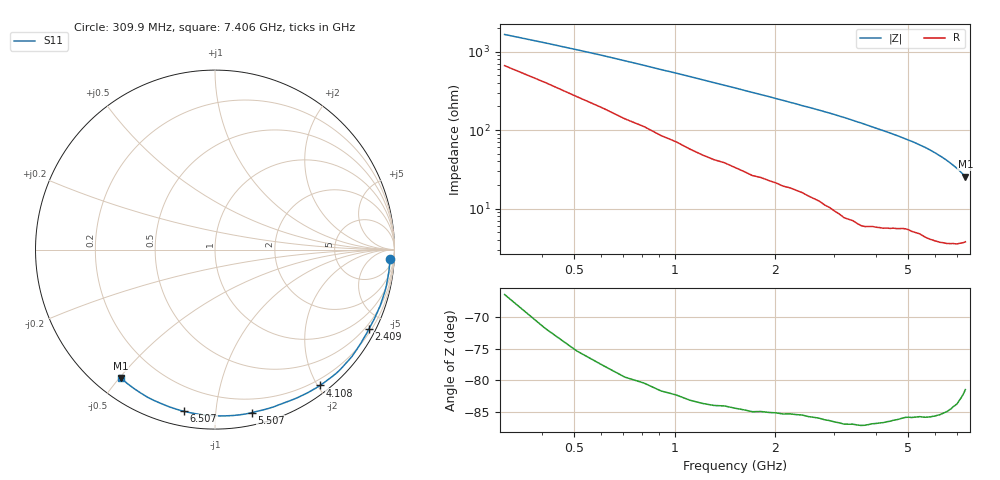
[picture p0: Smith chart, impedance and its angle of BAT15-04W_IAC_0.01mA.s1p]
! Infineon Technologies  Discrete & RF Semiconductors
! BAT15-04W-E6327
! IAC = 0.01 mA
! One-Port S-Parameters
# Hz  S  MA  R  50
!f  S11
!Hz  Mag  Ang
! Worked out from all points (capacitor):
!   72 points, 309.9 MHz to 7.406 GHz, reference 50 ohm
!   read as one part to ground: C = 317 fF near 309.9 MHz
!   lowest |Z| = 25.5 ohm at 7.406 GHz (marker M1)
!   S11 on the Smith chart (normalised r, x): 309.9 MHz: 13, -30; 2.409 GHz: 0.32, -4.07; 4.108 GHz: 0.11, -2.03; 5.507 GHz: 0.09, -1.25; 6.507 GHz: 0.07, -0.82; 7.406 GHz: 0.08, -0.50
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3.0985e8  0.976 -3.2
7.0965e8  0.9765 -7.4
1.2094e9  0.9754 -13.0
1.70915e9  0.9722 -18.8
2.10895e9  0.968 -23.6
2.4088e9  0.9646 -27.4
2.70865e9  0.9647 -31.1
3.0085e9  0.9665 -35.2
3.2084e9  0.9679 -38.0
3.6082e9  0.9662 -44.1
3.90805e9  0.9599 -49.1
4.10795e9  0.9564 -52.3
4.4078e9  0.95 -57.1
4.8076e9  0.9389 -64.1
5.10745e9  0.9353 -69.4
5.50725e9  0.9313 -77.4
5.6072e9  0.9316 -79.3
5.70715e9  0.9307 -81.5
5.90705e9  0.9283 -86.1
6.10695e9  0.9253 -90.9
6.30685e9  0.9217 -95.8
6.50675e9  0.9179 -100.9
6.6067e9  0.9149 -103.6
6.8066e9  0.9087 -109.2
7.0065e9  0.9043 -114.5
7.2064e9  0.8958 -120.4
7.30635e9  0.8917 -123.4
7.4063e9  0.8864 -126.2
